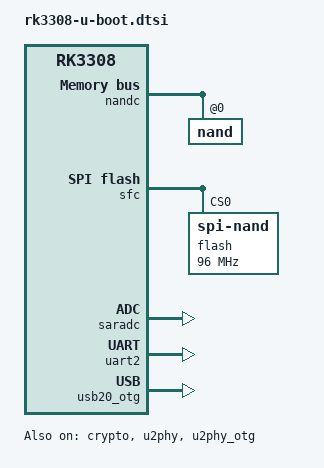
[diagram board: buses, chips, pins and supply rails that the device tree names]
/*
 * (C) Copyright 2018 Rockchip Electronics Co., Ltd
 *
 * SPDX-License-Identifier:     GPL-2.0+
 */

/ {

	chosen {
		stdout-path = &uart2;
		u-boot,spl-boot-order = &sfc, &nandc, &emmc;
	};
};

&dmc {
	u-boot,dm-pre-reloc;
};

&cru {
	u-boot,dm-pre-reloc;
};

&emmc {
	u-boot,dm-pre-reloc;
};

&grf {
	u-boot,dm-pre-reloc;
};

&nandc {
	u-boot,dm-pre-reloc;
	status = "okay";
	#address-cells = <1>;
	#size-cells = <0>;

	nand@0 {
		u-boot,dm-spl;
		reg = <0>;
		nand-ecc-mode = "hw_syndrome";
		nand-ecc-strength = <16>;
		nand-ecc-step-size = <1024>;
	};
};

&sfc {
	u-boot,dm-pre-reloc;
	status = "okay";

	#address-cells = <1>;
	#size-cells = <0>;
	flash@0 {
		u-boot,dm-spl;
		compatible = "spi-nand";
		reg = <0>;
		spi-tx-bus-width = <1>;
		spi-rx-bus-width = <4>;
		spi-max-frequency = <96000000>;
	};
};

&crypto {
	u-boot,dm-pre-reloc;
	status = "okay";
};

&saradc {
	u-boot,dm-pre-reloc;
	status = "okay";
};

&secure_otp {
	u-boot,dm-pre-reloc;
};

&uart0 {
	u-boot,dm-pre-reloc;
};

&uart1 {
	u-boot,dm-pre-reloc;
};

&uart2 {
	u-boot,dm-pre-reloc;
	clock-frequency = <24000000>;
	status = "okay";
};

&uart3 {
	u-boot,dm-pre-reloc;
};

&uart4 {
	u-boot,dm-pre-reloc;
};

&usb2phy_grf {
	u-boot,dm-pre-reloc;
};

&u2phy {
	u-boot,dm-pre-reloc;
	status = "okay";
};

&u2phy_otg {
	u-boot,dm-pre-reloc;
	status = "okay";
};

&usb20_otg {
	u-boot,dm-pre-reloc;
	status = "okay";
};

&route_rgb {
	status = "disabled";
};
